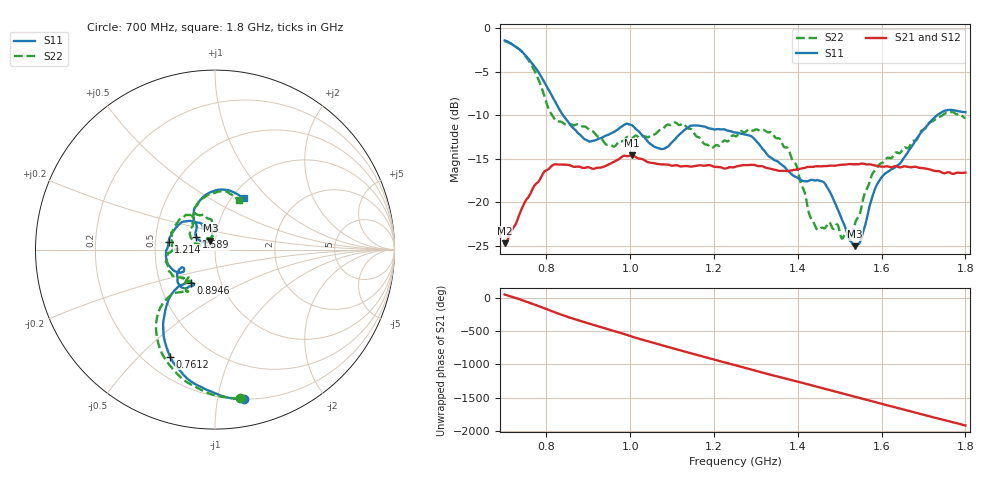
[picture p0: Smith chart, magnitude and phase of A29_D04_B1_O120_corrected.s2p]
! Created with skrf 1.9.0 (http://scikit-rf.org).
# Hz S RI R 50.0
!freq ReS11 ImS11 ReS21 ImS21 ReS12 ImS12 ReS22 ImS22
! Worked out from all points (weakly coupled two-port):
!   1601 points, 700 MHz to 1.8 GHz, reference 50 ohm
!   highest |S21| = -14.60 dB at 1.003 GHz (marker M1); lowest = -24.7 dB at 700 MHz (marker M2)
!   lowest |S11| = -25.1 dB at 1.535 GHz (marker M3), VSWR 1.12, Z = 47.3 + j4.72 ohm
!   |S11| at or under -10 dB: 839.2 MHz to 1.733 GHz (893.7 MHz wide, 69.5 % of centre)
!   |S22| runs from -24.4 to -1.5 dB; largest |S21 - S12| = 0.0033
!   S11 on the Smith chart (normalised r, x): 700 MHz: 0.20, -1.19; 761.2 MHz: 0.30, -0.62; 894.6 MHz: 0.72, -0.28; 1.214 GHz: 0.59, +0.05; 1.589 GHz: 0.80, +0.11; 1.8 GHz: 1.13, +0.73
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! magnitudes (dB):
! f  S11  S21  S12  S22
! 700 MHz  -1.4  -24.7  -24.5  -1.5
! 761.2 MHz  -3.8  -19.1  -18.9  -4.0
! 818.9 MHz  -8.3  -15.7  -15.8  -10.4
! 883.6 MHz  -12.4  -16.0  -15.9  -11.3
! 894.6 MHz  -12.8  -16.0  -16.1  -11.4
! 958.5 MHz  -12.0  -15.4  -15.4  -13.6
! 1.003 GHz  -11.1  -14.6  -14.7  -12.7
! 1.067 GHz  -13.8  -15.6  -15.6  -11.8
! 1.126 GHz  -11.8  -15.9  -15.9  -11.0
! 1.214 GHz  -11.6  -16.0  -16.0  -13.5
! 1.25 GHz  -12.0  -15.9  -15.9  -12.4
! 1.357 GHz  -15.5  -16.4  -16.3  -12.7
! 1.396 GHz  -17.1  -16.3  -16.2  -15.7
! 1.434 GHz  -17.4  -16.0  -15.9  -22.0
! 1.468 GHz  -18.1  -15.9  -15.8  -22.8
! 1.524 GHz  -24.3  -15.6  -15.6  -24.4
! 1.535 GHz  -25.1  -15.6  -15.6  -22.7
! 1.55 GHz  -24.3  -15.6  -15.6  -20.9
! 1.589 GHz  -18.0  -15.8  -15.8  -16.0
! 1.617 GHz  -16.4  -15.9  -15.9  -14.9
! 1.733 GHz  -10.0  -16.4  -16.4  -10.3
! 1.8 GHz  -9.7  -16.6  -16.6  -10.3
